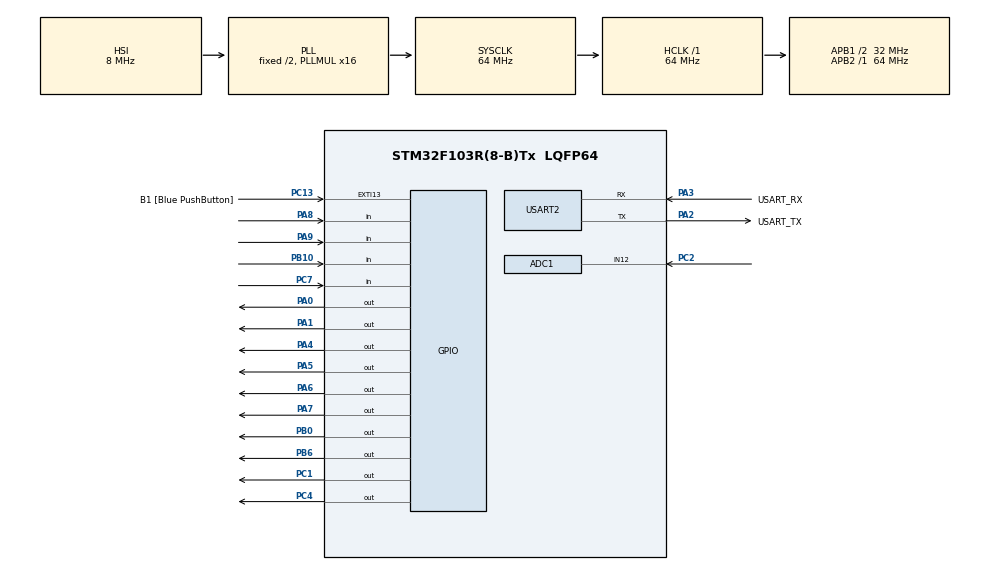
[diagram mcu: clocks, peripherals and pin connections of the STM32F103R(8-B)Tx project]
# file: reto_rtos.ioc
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ADC1.Channel-0\#ChannelRegularConversion=ADC_CHANNEL_12
ADC1.NbrOfConversionFlag=1
ADC1.Rank-0\#ChannelRegularConversion=1
ADC1.SamplingTime-0\#ChannelRegularConversion=ADC_SAMPLETIME_1CYCLE_5
ADC1.master=1
FREERTOS.Mutexes01=taskMutex,Dynamic,NULL,Available
FREERTOS.Queues01=key,1,uint32_t,0,Dynamic,NULL,NULL;value,1,uint32_t,0,Dynamic,NULL,NULL;throttle,1,uint32_t,0,Dynamic,NULL,NULL;brake_torque,1,uint32_t,0,Dynamic,NULL,NULL;steering,1,uint32_t,0,Dynamic,NULL,NULL;speed,1,uint32_t,0,Dynamic,NULL,NULL;engine,1,uint32_t,0,Dynamic,NULL,NULL;gear,1,uint32_t,0,Dynamic,NULL,NULL
FREERTOS.Tasks01=defaultTask,0,128,StartDefaultTask,Default,NULL,Dynamic,NULL,NULL;LeerValores,0,256,StartLeerValores,Default,NULL,Dynamic,NULL,NULL;EjecutarModelo,0,256,StartEjecutarModelo,Default,NULL,Dynamic,NULL,NULL;EnviarUART,0,256,StartEnviarUART,Default,NULL,Dynamic,NULL,NULL;EnviarLCD,0,256,StartEnviarLCD,Default,NULL,Dynamic,NULL,NULL
FREERTOS.configTOTAL_HEAP_SIZE=16392
FREERTOS.configUSE_NEWLIB_REENTRANT=1
Mcu.Family=STM32F1
Mcu.Name=STM32F103R(8-B)Tx
Mcu.Package=LQFP64
NVIC.EXTI15_10_IRQn=true\:5\:0\:false\:false\:true\:true\:true\:true\:true
NVIC.PriorityGroup=NVIC_PRIORITYGROUP_4
NVIC.TIM4_IRQn=true\:15\:0\:false\:false\:true\:false\:false\:true\:true
NVIC.TimeBase=TIM4_IRQn
NVIC.TimeBaseIP=TIM4
PA0-WKUP.Signal=GPIO_Output
PA1.Signal=GPIO_Output
PA13.GPIO_Label=TMS
PA13.Mode=Serial_Wire
PA13.Signal=SYS_JTMS-SWDIO
PA14.GPIO_Label=TCK
PA14.Mode=Serial_Wire
PA14.Signal=SYS_JTCK-SWCLK
PA2.GPIO_Label=USART_TX
PA2.GPIO_Mode=GPIO_MODE_AF_PP
PA2.GPIO_PuPd=GPIO_NOPULL
PA2.GPIO_Speed=GPIO_SPEED_FREQ_LOW
PA2.Mode=Asynchronous
PA2.Signal=USART2_TX
PA3.GPIO_Label=USART_RX
PA3.GPIO_Mode=GPIO_MODE_AF_PP
PA3.GPIO_PuPd=GPIO_NOPULL
PA3.GPIO_Speed=GPIO_SPEED_FREQ_LOW
PA3.Mode=Asynchronous
PA3.Signal=USART2_RX
PA4.Signal=GPIO_Output
PA5.Signal=GPIO_Output
PA6.Signal=GPIO_Output
PA7.Signal=GPIO_Output
PA8.GPIO_PuPd=GPIO_PULLDOWN
PA8.Signal=GPIO_Input
PA9.GPIO_PuPd=GPIO_PULLDOWN
PA9.Signal=GPIO_Input
PB0.Signal=GPIO_Output
PB10.GPIO_PuPd=GPIO_PULLDOWN
PB10.Signal=GPIO_Input
PB3.GPIO_Label=SWO
PB3.Signal=SYS_JTDO-TRACESWO
PB6.Signal=GPIO_Output
PC1.Signal=GPIO_Output
PC13-TAMPER-RTC.GPIO_Label=B1 [Blue PushButton]
PC13-TAMPER-RTC.GPIO_PuPd=GPIO_NOPULL
PC13-TAMPER-RTC.Signal=GPXTI13
PC14-OSC32_IN.Mode=LSE-External-Oscillator
PC14-OSC32_IN.Signal=RCC_OSC32_IN
PC15-OSC32_OUT.Mode=LSE-External-Oscillator
PC15-OSC32_OUT.Signal=RCC_OSC32_OUT
PC2.Signal=ADCx_IN12
PC4.Signal=GPIO_Output
PC7.GPIO_PuPd=GPIO_PULLDOWN
PC7.Signal=GPIO_Input
PD0-OSC_IN.Mode=HSE-External-Clock-Source
PD0-OSC_IN.Signal=RCC_OSC_IN
PD1-OSC_OUT.Mode=HSE-External-Clock-Source
PD1-OSC_OUT.Signal=RCC_OSC_OUT
ProjectManager.HeapSize=0x200
ProjectManager.StackSize=0x400
ProjectManager.TargetToolchain=STM32CubeIDE
RCC.ADCPresc=RCC_ADCPCLK2_DIV6
RCC.AHBFreq_Value=64000000
RCC.APB1CLKDivider=RCC_HCLK_DIV2
RCC.APB1Freq_Value=32000000
RCC.APB1TimFreq_Value=64000000
RCC.APB2Freq_Value=64000000
RCC.APB2TimFreq_Value=64000000
RCC.HCLKFreq_Value=64000000
RCC.PLLMUL=RCC_PLL_MUL16
RCC.RTCClockSelection=RCC_RTCCLKSOURCE_LSE
RCC.SYSCLKFreq_VALUE=64000000
RCC.SYSCLKSource=RCC_SYSCLKSOURCE_PLLCLK
RCC.USBFreq_Value=64000000
SH.ADCx_IN12.0=ADC1_IN12,IN12
USART2.VirtualMode=VM_ASYNC
VP_FREERTOS_VS_CMSIS_V1.Mode=CMSIS_V1
VP_SYS_VS_tim4.Mode=TIM4
board=NUCLEO-F103RB

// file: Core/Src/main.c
/* USER CODE BEGIN Header */
/**
  ******************************************************************************
  * @file           : main.c
  * @brief          : Main program body
  ******************************************************************************
  * @attention
  *
  * Copyright (c) 2024 STMicroelectronics.
  * All rights reserved.
  *
  * This software is licensed under terms that can be found in the LICENSE file
  * in the root directory of this software component.
  * If no LICENSE file comes with this software, it is provided AS-IS.
  *
  ******************************************************************************
  */
/* USER CODE END Header */
#include "main.h"
#include "cmsis_os.h"

/* USER CODE BEGIN Includes */
#include <stdbool.h>
#include <stdint.h>
#include <stddef.h>
#include <stdio.h>
#include "EngTrModel.h"
#include "rtwtypes.h"
/* USER CODE END Includes */

/* USER CODE BEGIN PD */
// LCD Display
#define RS_Pin GPIO_PIN_4
#define RS_GPIO_Port GPIOC
#define E_Pin GPIO_PIN_0
#define E_GPIO_Port GPIOA
#define D4_Pin GPIO_PIN_1
#define D4_GPIO_Port GPIOA
#define D5_Pin GPIO_PIN_4
#define D5_GPIO_Port GPIOA
#define D6_Pin GPIO_PIN_0
#define D6_GPIO_Port GPIOB
#define D7_Pin GPIO_PIN_1
#define D7_GPIO_Port GPIOC

// Matrix Keypad
#define mpo_0_PORT GPIOA
#define mpo_0_PIN  GPIO_PIN_5  // D13
#define mpo_1_PORT GPIOA
#define mpo_1_PIN  GPIO_PIN_6  // D12
#define mpo_2_PORT GPIOA
#define mpo_2_PIN  GPIO_PIN_7  // D11
#define mpo_3_PORT GPIOB
#define mpo_3_PIN  GPIO_PIN_6  // D10
#define mpi_0_PORT GPIOC
#define mpi_0_PIN  GPIO_PIN_7  // D9
#define mpi_1_PORT GPIOA
#define mpi_1_PIN  GPIO_PIN_9  // D8
#define mpi_2_PORT GPIOA
#define mpi_2_PIN  GPIO_PIN_8  // D7
#define mpi_3_PORT GPIOB
#define mpi_3_PIN  GPIO_PIN_10 // D6
/* USER CODE END PD */

ADC_HandleTypeDef hadc1;

UART_HandleTypeDef huart2;

osThreadId defaultTaskHandle;
osThreadId LeerValoresHandle;
osThreadId EjecutarModeloHandle;
osThreadId EnviarUARTHandle;
osThreadId EnviarLCDHandle;
osMessageQId keyHandle;
osMessageQId valueHandle;
osMessageQId throttleHandle;
osMessageQId brake_torqueHandle;
osMessageQId steeringHandle;
osMessageQId speedHandle;
osMessageQId engineHandle;
osMessageQId gearHandle;
osMutexId taskMutexHandle;

void SystemClock_Config(void);
static void MX_GPIO_Init(void);
static void MX_USART2_UART_Init(void);
static void MX_ADC1_Init(void);
void StartDefaultTask(void const * argument);
void StartLeerValores(void const * argument);
void StartEjecutarModelo(void const * argument);
void StartEnviarUART(void const * argument);
void StartEnviarLCD(void const * argument);

/* USER CODE BEGIN 0 */
// Otras
void FormatFloat(char *buffer, float value, bool fixed_decimals) {
    int int_part = (int)value;                          // Extract integer part
    int decimal_part = (int)((value - int_part) * 100); // Extract two decimal places

    if (fixed_decimals) {
        // Always display two decimals
        sprintf(buffer, "%d.%02d", int_part, abs(decimal_part));
    } else {
        // Dynamically hide trailing zeros
        if (decimal_part == 0) {
            sprintf(buffer, "%d", int_part); // No decimals
        } else if (decimal_part % 10 == 0) {
            sprintf(buffer, "%d.%d", int_part, abs(decimal_part / 10)); // One decimal place
        } else {
            sprintf(buffer, "%d.%02d", int_part, abs(decimal_part)); // Two decimal places
        }
    }
}

// FUNCIONES RTOS
uint32_t GetAndReplaceValue(osMessageQId queueHandle) {
    uint32_t value = 0;  // Local variable to hold the value
    osEvent r_event = osMessageGet(queueHandle, 0);

    if (r_event.status == osEventMessage) {
        value = r_event.value.v;  // Store the value from the queue
        osMessagePut(queueHandle, value, 0);  // Immediately replace the value in the queue
    }

    return value;  // Return the value
}
void PutValueInQueue(osMessageQId queueHandle, void *value) {
    // Try to put the value in the queue
    osStatus status = osMessagePut(queueHandle, (uint32_t)value, 0);
    if (status != osOK) {
        // If the queue is full, remove the oldest value and try again
        osMessageGet(queueHandle, 0);  // Remove the oldest value
        osMessagePut(queueHandle, (uint32_t)value, 0);  // Add the new value
    }
}
void DebugTaskTiming(char task_id, uint32_t time) {
    time = time % 1000;  // Keep the output within 3 digits
    char debug_msg[8];   // Buffer for message (7 characters + null terminator)
    sprintf(debug_msg, "%c%03lu\r\n", task_id, time);  // Format message using %lu for uint32_t
    HAL_UART_Transmit(&huart2, (uint8_t *)debug_msg, strlen(debug_msg), HAL_MAX_DELAY);
}
int _write(int file, char *ptr, int len){
	int DataIdx;
	for(DataIdx=0; DataIdx<len; DataIdx++){
	while(!( USART2->SR & USART_SR_TXE ));
		USART2->DR = *ptr++;
	}
	return len;
}

// FUNCIONES KEYPAD
int8_t read_matrix_inputs(void) {
    // Read the state of each defined input pin
    uint8_t mpi_0_state = HAL_GPIO_ReadPin(mpi_0_PORT, mpi_0_PIN);
    uint8_t mpi_1_state = HAL_GPIO_ReadPin(mpi_1_PORT, mpi_1_PIN);
    uint8_t mpi_2_state = HAL_GPIO_ReadPin(mpi_2_PORT, mpi_2_PIN);
    uint8_t mpi_3_state = HAL_GPIO_ReadPin(mpi_3_PORT, mpi_3_PIN);

    // Return a number based on which input is on
    if (mpi_0_state == GPIO_PIN_SET) {
        return 0;
    } else if (mpi_1_state == GPIO_PIN_SET) {
        return 1;
    } else if (mpi_2_state == GPIO_PIN_SET) {
        return 2;
    } else if (mpi_3_state == GPIO_PIN_SET) {
        return 3;
    }

    // If no input is on, return -1 (or another invalid value to indicate no input)
    return -1;
}
int8_t read_matrix_pad(void) {
    int32_t col = -1;
    int32_t key = -1;

    // Set mpo_0 (pin index 0) to 1
    HAL_GPIO_WritePin(mpo_0_PORT, mpo_0_PIN, GPIO_PIN_SET);
    col = read_matrix_inputs();
    if (col != -1) {
        key = 0 * 4 + col;
    }
    HAL_GPIO_WritePin(mpo_0_PORT, mpo_0_PIN, GPIO_PIN_RESET);  // Reset after check

    // Set mpo_1 (pin index 1) to 1
    HAL_GPIO_WritePin(mpo_1_PORT, mpo_1_PIN, GPIO_PIN_SET);
    col = read_matrix_inputs();
    if (col != -1) {
        key = 1 * 4 + col;
    }
    HAL_GPIO_WritePin(mpo_1_PORT, mpo_1_PIN, GPIO_PIN_RESET);  // Reset after check

    // Set mpo_2 (pin index 2) to 1
    HAL_GPIO_WritePin(mpo_2_PORT, mpo_2_PIN, GPIO_PIN_SET);
    col = read_matrix_inputs();
    if (col != -1) {
        key = 2 * 4 + col;
    }
    HAL_GPIO_WritePin(mpo_2_PORT, mpo_2_PIN, GPIO_PIN_RESET);  // Reset after check

    // Set mpo_3 (pin index 3) to 1
    HAL_GPIO_WritePin(mpo_3_PORT, mpo_3_PIN, GPIO_PIN_SET);
    col = read_matrix_inputs();
    if (col != -1) {
        key = 3 * 4 + col;
    }
    HAL_GPIO_WritePin(mpo_3_PORT, mpo_3_PIN, GPIO_PIN_RESET);  // Reset after check

    // If no valid col found, return 255 (or any other invalid marker)
    return key;
}

// FUNCIONES LCD
void LCD_Command(uint8_t cmd) {
    // Send high nibble
    HAL_GPIO_WritePin(RS_GPIO_Port, RS_Pin, GPIO_PIN_RESET); // RS = 0 for command
    HAL_GPIO_WritePin(D4_GPIO_Port, D4_Pin, (cmd >> 4) & 0x01);
    HAL_GPIO_WritePin(D5_GPIO_Port, D5_Pin, (cmd >> 5) & 0x01);
    HAL_GPIO_WritePin(D6_GPIO_Port, D6_Pin, (cmd >> 6) & 0x01);
    HAL_GPIO_WritePin(D7_GPIO_Port, D7_Pin, (cmd >> 7) & 0x01);

    HAL_GPIO_WritePin(E_GPIO_Port, E_Pin, GPIO_PIN_SET);  // Enable pin HIGH
    HAL_Delay(0.00001);
    HAL_GPIO_WritePin(E_GPIO_Port, E_Pin, GPIO_PIN_RESET);  // Enable pin LOW
    HAL_Delay(0.00001);

    // Send low nibble
    HAL_GPIO_WritePin(D4_GPIO_Port, D4_Pin, cmd & 0x01);
    HAL_GPIO_WritePin(D5_GPIO_Port, D5_Pin, (cmd >> 1) & 0x01);
    HAL_GPIO_WritePin(D6_GPIO_Port, D6_Pin, (cmd >> 2) & 0x01);
    HAL_GPIO_WritePin(D7_GPIO_Port, D7_Pin, (cmd >> 3) & 0x01);

    HAL_GPIO_WritePin(E_GPIO_Port, E_Pin, GPIO_PIN_SET);  // Enable pin HIGH
    HAL_Delay(0.00001);
    HAL_GPIO_WritePin(E_GPIO_Port, E_Pin, GPIO_PIN_RESET);  // Enable pin LOW
    HAL_Delay(0.00001);
}
void LCD_Write_Char(char data) {
    // Send high nibble
    HAL_GPIO_WritePin(RS_GPIO_Port, RS_Pin, GPIO_PIN_SET); // RS = 1 for data
    HAL_GPIO_WritePin(D4_GPIO_Port, D4_Pin, (data >> 4) & 0x01);
    HAL_GPIO_WritePin(D5_GPIO_Port, D5_Pin, (data >> 5) & 0x01);
    HAL_GPIO_WritePin(D6_GPIO_Port, D6_Pin, (data >> 6) & 0x01);
    HAL_GPIO_WritePin(D7_GPIO_Port, D7_Pin, (data >> 7) & 0x01);

    HAL_GPIO_WritePin(E_GPIO_Port, E_Pin, GPIO_PIN_SET);  // Enable pin HIGH
    HAL_Delay(0.00001);
    HAL_GPIO_WritePin(E_GPIO_Port, E_Pin, GPIO_PIN_RESET);  // Enable pin LOW
    HAL_Delay(0.00001);

    // Send low nibble
    HAL_GPIO_WritePin(D4_GPIO_Port, D4_Pin, data & 0x01);
    HAL_GPIO_WritePin(D5_GPIO_Port, D5_Pin, (data >> 1) & 0x01);
    HAL_GPIO_WritePin(D6_GPIO_Port, D6_Pin, (data >> 2) & 0x01);
    HAL_GPIO_WritePin(D7_GPIO_Port, D7_Pin, (data >> 3) & 0x01);

    HAL_GPIO_WritePin(E_GPIO_Port, E_Pin, GPIO_PIN_SET);  // Enable pin HIGH
    HAL_Delay(0.00001);
    HAL_GPIO_WritePin(E_GPIO_Port, E_Pin, GPIO_PIN_RESET);  // Enable pin LOW
    HAL_Delay(0.00001);
}
void LCD_Init(void) {
    HAL_Delay(20);  // Wait for 20ms
    LCD_Command(0x03);
    HAL_Delay(5);
    LCD_Command(0x03);
    HAL_Delay(1);
    LCD_Command(0x03);
    LCD_Command(0x02);  // 4-bit mode
    LCD_Command(0x28);  // 2 lines, 5x7 matrix
    LCD_Command(0x0C);  // Display on, cursor off
    LCD_Command(0x06);  // Increment cursor
    LCD_Command(0x01);  // Clear display
    HAL_Delay(2);
}
void LCD_Set_Cursor(uint8_t row, uint8_t col) {
    uint8_t pos;
    if (row == 0) {
        pos = 0x80 + col;
    } else {
        pos = 0xC0 + col;
    }
    LCD_Command(pos);
}
void LCD_Write_String(char *str) {
    while (*str) {
        LCD_Write_Char(*str++);
    }
}
void LCD_Overwrite(char *str) {
	LCD_Command(0x01);  	// Clear
	HAL_Delay(1);	  		// Wait for clear
	LCD_Set_Cursor(0, 0);	// Reset cursor
    while (*str) {
        if (*str == '\n') {
            LCD_Set_Cursor(1, 0);  // Move to the beginning of the second line
        } else {
            LCD_Write_Char(*str);
        }
        str++;
    }
}
void LCD_Update(char *str) {
    static char prev_str[32] = "";  // Assume 16x2 LCD, so max 32 characters
    char padded_str[32] = "";       // Buffer for the padded version of `str`
    size_t len = strlen(str);

    // Pad the input string to match the LCD's dimensions
    memset(padded_str, ' ', sizeof(padded_str));  // Fill with spaces
    if (len > 0) {
        // Copy the input string into the padded buffer
        for (size_t i = 0, lcd_pos = 0; i < len && lcd_pos < 32; i++) {
            if (str[i] == '\n') {
                // Move to the second line at index 16
                lcd_pos = 16;
            } else if (lcd_pos < 32) {
                // Copy the character to the padded buffer
                padded_str[lcd_pos++] = str[i];
            }
        }
    }

    // Compare each character with the previous display and update if needed
    for (size_t i = 0; i < 32; i++) {
        if (padded_str[i] != prev_str[i]) {
            LCD_Set_Cursor(i / 16, i % 16);  // Determine row and column
            LCD_Write_Char(padded_str[i]);  // Write the updated character
            prev_str[i] = padded_str[i];    // Update the prev_str record
        }
    }
}
/* USER CODE END 0 */

int main(void)
{

  /* MCU Configuration--------------------------------------------------------*/

  /* Reset of all peripherals, Initializes the Flash interface and the Systick. */
  HAL_Init();

  /* Configure the system clock */
  SystemClock_Config();

  /* Initialize all configured peripherals */
  MX_GPIO_Init();
  MX_USART2_UART_Init();
  MX_ADC1_Init();

  /* Create the mutex(es) */
  /* definition and creation of taskMutex */
  osMutexDef(taskMutex);
  taskMutexHandle = osMutexCreate(osMutex(taskMutex));

  /* Create the queue(s) */
  /* definition and creation of key */
  osMessageQDef(key, 1, uint32_t);
  keyHandle = osMessageCreate(osMessageQ(key), NULL);

  /* definition and creation of value */
  osMessageQDef(value, 1, uint32_t);
  valueHandle = osMessageCreate(osMessageQ(value), NULL);

  /* definition and creation of throttle */
  osMessageQDef(throttle, 1, uint32_t);
  throttleHandle = osMessageCreate(osMessageQ(throttle), NULL);

  /* definition and creation of brake_torque */
  osMessageQDef(brake_torque, 1, uint32_t);
  brake_torqueHandle = osMessageCreate(osMessageQ(brake_torque), NULL);

  /* definition and creation of steering */
  osMessageQDef(steering, 1, uint32_t);
  steeringHandle = osMessageCreate(osMessageQ(steering), NULL);

  /* definition and creation of speed */
  osMessageQDef(speed, 1, uint32_t);
  speedHandle = osMessageCreate(osMessageQ(speed), NULL);

  /* definition and creation of engine */
  osMessageQDef(engine, 1, uint32_t);
  engineHandle = osMessageCreate(osMessageQ(engine), NULL);

  /* definition and creation of gear */
  osMessageQDef(gear, 1, uint32_t);
  gearHandle = osMessageCreate(osMessageQ(gear), NULL);

  /* Create the thread(s) */
  /* definition and creation of defaultTask */
  osThreadDef(defaultTask, StartDefaultTask, osPriorityNormal, 0, 128);
  defaultTaskHandle = osThreadCreate(osThread(defaultTask), NULL);

  /* definition and creation of LeerValores */
  osThreadDef(LeerValores, StartLeerValores, osPriorityNormal, 0, 256);
  LeerValoresHandle = osThreadCreate(osThread(LeerValores), NULL);

  /* definition and creation of EjecutarModelo */
  osThreadDef(EjecutarModelo, StartEjecutarModelo, osPriorityNormal, 0, 256);
  EjecutarModeloHandle = osThreadCreate(osThread(EjecutarModelo), NULL);

  /* definition and creation of EnviarUART */
  osThreadDef(EnviarUART, StartEnviarUART, osPriorityNormal, 0, 256);
  EnviarUARTHandle = osThreadCreate(osThread(EnviarUART), NULL);

  /* definition and creation of EnviarLCD */
  osThreadDef(EnviarLCD, StartEnviarLCD, osPriorityNormal, 0, 256);
  EnviarLCDHandle = osThreadCreate(osThread(EnviarLCD), NULL);

  /* Start scheduler */
  osKernelStart();

  /* We should never get here as control is now taken by the scheduler */

  /* Infinite loop */
  while (1)
  {

  }
}

void SystemClock_Config(void)
{
  RCC_OscInitTypeDef RCC_OscInitStruct = {0};
  RCC_ClkInitTypeDef RCC_ClkInitStruct = {0};
  RCC_PeriphCLKInitTypeDef PeriphClkInit = {0};

  /** Initializes the RCC Oscillators according to the specified parameters
  * in the RCC_OscInitTypeDef structure.
  */
  RCC_OscInitStruct.OscillatorType = RCC_OSCILLATORTYPE_HSI;
  RCC_OscInitStruct.HSIState = RCC_HSI_ON;
  RCC_OscInitStruct.HSICalibrationValue = RCC_HSICALIBRATION_DEFAULT;
  RCC_OscInitStruct.PLL.PLLState = RCC_PLL_ON;
  RCC_OscInitStruct.PLL.PLLSource = RCC_PLLSOURCE_HSI_DIV2;
  RCC_OscInitStruct.PLL.PLLMUL = RCC_PLL_MUL16;
  if (HAL_RCC_OscConfig(&RCC_OscInitStruct) != HAL_OK)
  {
    Error_Handler();
  }

  /** Initializes the CPU, AHB and APB buses clocks
  */
  RCC_ClkInitStruct.ClockType = RCC_CLOCKTYPE_HCLK|RCC_CLOCKTYPE_SYSCLK
                              |RCC_CLOCKTYPE_PCLK1|RCC_CLOCKTYPE_PCLK2;
  RCC_ClkInitStruct.SYSCLKSource = RCC_SYSCLKSOURCE_PLLCLK;
  RCC_ClkInitStruct.AHBCLKDivider = RCC_SYSCLK_DIV1;
  RCC_ClkInitStruct.APB1CLKDivider = RCC_HCLK_DIV2;
  RCC_ClkInitStruct.APB2CLKDivider = RCC_HCLK_DIV1;

  if (HAL_RCC_ClockConfig(&RCC_ClkInitStruct, FLASH_LATENCY_2) != HAL_OK)
  {
    Error_Handler();
  }
  PeriphClkInit.PeriphClockSelection = RCC_PERIPHCLK_ADC;
  PeriphClkInit.AdcClockSelection = RCC_ADCPCLK2_DIV6;
  if (HAL_RCCEx_PeriphCLKConfig(&PeriphClkInit) != HAL_OK)
  {
    Error_Handler();
  }
}

static void MX_ADC1_Init(void)
{

  ADC_ChannelConfTypeDef sConfig = {0};

  /** Common config
  */
  hadc1.Instance = ADC1;
  hadc1.Init.ScanConvMode = ADC_SCAN_DISABLE;
  hadc1.Init.ContinuousConvMode = DISABLE;
  hadc1.Init.DiscontinuousConvMode = DISABLE;
  hadc1.Init.ExternalTrigConv = ADC_SOFTWARE_START;
  hadc1.Init.DataAlign = ADC_DATAALIGN_RIGHT;
  hadc1.Init.NbrOfConversion = 1;
  if (HAL_ADC_Init(&hadc1) != HAL_OK)
  {
    Error_Handler();
  }

  /** Configure Regular Channel
  */
  sConfig.Channel = ADC_CHANNEL_12;
  sConfig.Rank = ADC_REGULAR_RANK_1;
  sConfig.SamplingTime = ADC_SAMPLETIME_1CYCLE_5;
  if (HAL_ADC_ConfigChannel(&hadc1, &sConfig) != HAL_OK)
  {
    Error_Handler();
  }

}

static void MX_USART2_UART_Init(void)
{

  huart2.Instance = USART2;
  huart2.Init.BaudRate = 115200;
  huart2.Init.WordLength = UART_WORDLENGTH_8B;
  huart2.Init.StopBits = UART_STOPBITS_1;
  huart2.Init.Parity = UART_PARITY_NONE;
  huart2.Init.Mode = UART_MODE_TX_RX;
  huart2.Init.HwFlowCtl = UART_HWCONTROL_NONE;
  huart2.Init.OverSampling = UART_OVERSAMPLING_16;
  if (HAL_UART_Init(&huart2) != HAL_OK)
  {
    Error_Handler();
  }

}

static void MX_GPIO_Init(void)
{
  GPIO_InitTypeDef GPIO_InitStruct = {0};

  /* GPIO Ports Clock Enable */
  __HAL_RCC_GPIOC_CLK_ENABLE();
  __HAL_RCC_GPIOD_CLK_ENABLE();
  __HAL_RCC_GPIOA_CLK_ENABLE();
  __HAL_RCC_GPIOB_CLK_ENABLE();

  /*Configure GPIO pin Output Level */
  HAL_GPIO_WritePin(GPIOC, GPIO_PIN_1|GPIO_PIN_4, GPIO_PIN_RESET);

  /*Configure GPIO pin Output Level */
  HAL_GPIO_WritePin(GPIOA, GPIO_PIN_0|GPIO_PIN_1|GPIO_PIN_4|GPIO_PIN_5
                          |GPIO_PIN_6|GPIO_PIN_7, GPIO_PIN_RESET);

  /*Configure GPIO pin Output Level */
  HAL_GPIO_WritePin(GPIOB, GPIO_PIN_0|GPIO_PIN_6, GPIO_PIN_RESET);

  /*Configure GPIO pin : B1_Pin */
  GPIO_InitStruct.Pin = B1_Pin;
  GPIO_InitStruct.Mode = GPIO_MODE_IT_RISING;
  GPIO_InitStruct.Pull = GPIO_NOPULL;
  HAL_GPIO_Init(B1_GPIO_Port, &GPIO_InitStruct);

  /*Configure GPIO pins : PC1 PC4 */
  GPIO_InitStruct.Pin = GPIO_PIN_1|GPIO_PIN_4;
  GPIO_InitStruct.Mode = GPIO_MODE_OUTPUT_PP;
  GPIO_InitStruct.Pull = GPIO_NOPULL;
  GPIO_InitStruct.Speed = GPIO_SPEED_FREQ_LOW;
  HAL_GPIO_Init(GPIOC, &GPIO_InitStruct);

  /*Configure GPIO pins : PA0 PA1 PA4 PA5
                           PA6 PA7 */
  GPIO_InitStruct.Pin = GPIO_PIN_0|GPIO_PIN_1|GPIO_PIN_4|GPIO_PIN_5
                          |GPIO_PIN_6|GPIO_PIN_7;
  GPIO_InitStruct.Mode = GPIO_MODE_OUTPUT_PP;
  GPIO_InitStruct.Pull = GPIO_NOPULL;
  GPIO_InitStruct.Speed = GPIO_SPEED_FREQ_LOW;
  HAL_GPIO_Init(GPIOA, &GPIO_InitStruct);

  /*Configure GPIO pins : PB0 PB6 */
  GPIO_InitStruct.Pin = GPIO_PIN_0|GPIO_PIN_6;
  GPIO_InitStruct.Mode = GPIO_MODE_OUTPUT_PP;
  GPIO_InitStruct.Pull = GPIO_NOPULL;
  GPIO_InitStruct.Speed = GPIO_SPEED_FREQ_LOW;
  HAL_GPIO_Init(GPIOB, &GPIO_InitStruct);

  /*Configure GPIO pin : PB10 */
  GPIO_InitStruct.Pin = GPIO_PIN_10;
  GPIO_InitStruct.Mode = GPIO_MODE_INPUT;
  GPIO_InitStruct.Pull = GPIO_PULLDOWN;
  HAL_GPIO_Init(GPIOB, &GPIO_InitStruct);

  /*Configure GPIO pin : PC7 */
  GPIO_InitStruct.Pin = GPIO_PIN_7;
  GPIO_InitStruct.Mode = GPIO_MODE_INPUT;
  GPIO_InitStruct.Pull = GPIO_PULLDOWN;
  HAL_GPIO_Init(GPIOC, &GPIO_InitStruct);

  /*Configure GPIO pins : PA8 PA9 */
  GPIO_InitStruct.Pin = GPIO_PIN_8|GPIO_PIN_9;
  GPIO_InitStruct.Mode = GPIO_MODE_INPUT;
  GPIO_InitStruct.Pull = GPIO_PULLDOWN;
  HAL_GPIO_Init(GPIOA, &GPIO_InitStruct);

  /* EXTI interrupt init*/
  HAL_NVIC_SetPriority(EXTI15_10_IRQn, 5, 0);
  HAL_NVIC_EnableIRQ(EXTI15_10_IRQn);

}

void StartDefaultTask(void const * argument)
{
  /* USER CODE BEGIN 5 */
	// Calendarización para esta tarea
	const int period = 100;
	const int offset = 5;
	osDelay(offset);

  /* Infinite loop */
	for(;;)
	{
		//int tick = osKernelSysTick();
		//printf("Hello RTOS World!! Tick: %d\r\n", tick);

		// Random delay to simulate longer execution
		//int random_delay = 10 + rand() % 100;
		//HAL_Delay(random_delay);

		// Wait until next release time
		//int cur_tick = osKernelSysTick();
		//osDelay(((cur_tick / period) + 1) * period + offset - cur_tick);
		osDelay(1);
	}
  /* USER CODE END 5 */
}

void StartLeerValores(void const * argument)
{
  /* USER CODE BEGIN StartLeerValores */
	// Calendarización para esta tarea
	const int period = 40;
	const int offset = 0;
	osDelay(offset);

	uint16_t mini = 500;	// Mínimo valor del ADC
	uint16_t maxi = 4000;	// Máximo valor del ADC
	int8_t key = -1;
	uint16_t value = 0;
	float brake_torque = 0;
	float throttle;
	int8_t steering = 0;
	char msg[256] = "";

	/* Infinite loop */
	for(;;)
	{
	  	// Start
		osMutexWait(taskMutexHandle, osWaitForever);
		uint32_t start_tick = osKernelSysTick();  // Get start time
		//DebugTaskTiming('L', osKernelSysTick()); // Ver inicio

		// Leemos el teclado
		key = read_matrix_pad();
		PutValueInQueue(keyHandle, &key);  // Use the new function to handle key

		// Leemos potenciometro
		HAL_ADC_Start(&hadc1);
		HAL_ADC_PollForConversion(&hadc1, 20);
		value = HAL_ADC_GetValue(&hadc1);
		PutValueInQueue(valueHandle, &value);  // Use the new function to handle value

		// Calculamos Throttle
		throttle = fmax(0.0f, fmin(((float)value - (float)mini) / ((float)maxi - (float)mini), 1.0f));
		PutValueInQueue(throttleHandle, &throttle);  // Use the new function to handle throttle

		// Calculamos brake torque
		brake_torque = (key == 5) ? 1 : 0;
		PutValueInQueue(brake_torqueHandle, &brake_torque);  // Use the new function to handle brake_torque

		// Calculamos dirección
		if (key == 4)
		    steering = -1;
		else if (key == 6)
		    steering = 1;
		else
		    steering = 0;
		PutValueInQueue(steeringHandle, &steering);  // Use the new function to handle steering

		// Wait until next release time
		osMutexRelease(taskMutexHandle); // Done
		//DebugTaskTiming('L', osKernelSysTick() - start_tick); //  Ver duración
		int cur_tick = osKernelSysTick();
		osDelay(((cur_tick / period) + 1) * period + offset - cur_tick);
	}
  /* USER CODE END StartLeerValores */
}

void StartEjecutarModelo(void const * argument)
{
  /* USER CODE BEGIN StartEjecutarModelo */
	  // Calendarización para esta tarea
	  const int period = 40;
	  const int offset = 6;
	  osDelay(offset);

	  osEvent r_event;
	  bool stopped = false;
      float mint = 1.45;
	  float maxt = 100;
      float max_bt = 2000;
	  float brake_torque = 0;
	  float throttle = 0;
	  float speed = 0.0;
	  float engine = 0.0;
	  int8_t gear = 0;
	  /* Infinite loop */
	  for(;;)
	  {
		  	// Start
		    osMutexWait(taskMutexHandle, osWaitForever);
		  	uint32_t start_tick = osKernelSysTick();  // Get start time
			//DebugTaskTiming('M', osKernelSysTick()); // Ver inicio

			// Obtenemos throttle y brake_torque
			throttle = *(float *)GetAndReplaceValue(throttleHandle);
			throttle = throttle * (maxt - mint) + mint;
			brake_torque = *(float *)GetAndReplaceValue(brake_torqueHandle);
			brake_torque = brake_torque * max_bt;

			// Asignamos throttle y brake_torque
			EngTrModel_U.Throttle = throttle; // Get
			EngTrModel_U.BrakeTorque = brake_torque; // Get

			// Ejecutamos el modelo
			EngTrModel_step();

			// Checamos que la velocidad no sea negativa
			if (EngTrModel_Y.VehicleSpeed < 0)
				EngTrModel_Y.VehicleSpeed = 0;

			// Apply the stopped condition
			if (stopped)
			    EngTrModel_Y.VehicleSpeed = 0;  // Force speed to remain 0 while stopped

			// Update the stopped flag
			stopped = (EngTrModel_Y.VehicleSpeed == 0 && brake_torque > 0);

			// Leemos salida del modelo
			speed = EngTrModel_Y.VehicleSpeed;	// Put
			engine = EngTrModel_Y.EngineSpeed;	// Put
			gear = EngTrModel_Y.Gear;			// Put

			// Enviamos a queues
			PutValueInQueue(speedHandle, &speed);   // Use the new function to handle speed
			PutValueInQueue(engineHandle, &engine); // Use the new function to handle engine
			PutValueInQueue(gearHandle, &gear);     // Use the new function to handle gear

			// Wait until next release time
			osMutexRelease(taskMutexHandle); // Done
			//DebugTaskTiming('M', osKernelSysTick() - start_tick); // Ver duración
			int cur_tick = osKernelSysTick();
			osDelay(((cur_tick / period) + 1) * period + offset - cur_tick);
	  }
  /* USER CODE END StartEjecutarModelo */
}

void StartEnviarUART(void const * argument)
{
  /* USER CODE BEGIN StartEnviarUART */
	  // Calendarización para esta tarea
	  const int period = 40;
	  const int offset = 10;
	  osDelay(offset);

	  osEvent r_event;
	  uint8_t msg[256] = "";
	  int8_t key = -1;			// Queue
	  uint16_t value = 0;		// Queue
	  int8_t steering = 0;		// Queue
	  int8_t gear = 0;			// Queue
	  float throttle;			// Queue
	  float speed = 0.0;		// Queue
	  float engine = 0.0;		// Queue
	  float brake_torque = 0;	// Queue

	  bool transmit = false;
	  /* Infinite loop */
	  for(;;)
	  {
		  	// Start
			osMutexWait(taskMutexHandle, osWaitForever);
			uint32_t start_tick = osKernelSysTick();  // Get start time
			//DebugTaskTiming('U', osKernelSysTick()); // Ver inicio

			// Get values
			key = *(int8_t *)GetAndReplaceValue(keyHandle);
			value = *(uint16_t *)GetAndReplaceValue(valueHandle);
			steering = *(int8_t *)GetAndReplaceValue(steeringHandle);
			gear = *(int8_t *)GetAndReplaceValue(gearHandle);
			throttle = *(float *)GetAndReplaceValue(throttleHandle);
			speed = *(float *)GetAndReplaceValue(speedHandle);
			engine = *(float *)GetAndReplaceValue(engineHandle);
			brake_torque = *(float *)GetAndReplaceValue(brake_torqueHandle);

			// Check if key 12 or 14 is pressed
			if (key == 12)
				transmit = false;
			else if (key == 14)
				transmit = true;

			// Main sprintf logic for the message
			char throttle_str[10];
			FormatFloat(throttle_str, throttle, false);   // Format throttle
			sprintf(msg, "Key: %d\tADC: %u\tThr: %s\tBrk: %u\tStr: %d\tG: %u\tEng: %d.%02d\tSpd: %d.%02d\t%s\r\n",
			        key,
			        value,
			        throttle_str,
			        (int)brake_torque,
			        steering,
			        gear,
			        (int)speed, (int)((speed - (int)speed) * 100),
			        (int)engine, (int)((engine - (int)engine) * 100),
			        transmit ? "\tT" : "\tX");
			printf(msg);

			// Wait until next release time
			osMutexRelease(taskMutexHandle); // Done
			//DebugTaskTiming('U', osKernelSysTick() - start_tick); // Ver duración
			int cur_tick = osKernelSysTick();
			osDelay(((cur_tick / period) + 1) * period + offset - cur_tick);
	  }
  /* USER CODE END StartEnviarUART */
}

void StartEnviarLCD(void const * argument)
{
  /* USER CODE BEGIN StartEnviarLCD */
	  LCD_Init();
	  // Calendarización para esta tarea
	  const int period = 120;
	  const int offset = 17;
	  const int cycle_duration = 5000;
	  osDelay(offset);

	  osEvent r_event;
	  char lcd_msg[33] = "";
	  int8_t key = -1, prev_key = -1;  // Current and previous key state
	  int display_counter = 0;        // Counter to manually cycle through displays
	  const int num_displays = 4;     // Total number of displays

	  uint16_t value = 0;
	  float brake_torque = 0;
	  float throttle = 0;
	  int8_t steering = 0;
	  int8_t gear = 0;
	  float speed = 0.0;
	  float engine = 0.0;

	  /* Infinite loop */
	  for(;;)
	  {
		// Start
		osMutexWait(taskMutexHandle, osWaitForever);
		uint32_t start_tick = osKernelSysTick();  // Get start time
		//DebugTaskTiming('P', osKernelSysTick()); // Ver inicio

		// Get values
		key = *(int8_t *)GetAndReplaceValue(keyHandle);
		value = *(uint16_t *)GetAndReplaceValue(valueHandle);
		brake_torque = *(float *)GetAndReplaceValue(brake_torqueHandle);
		throttle = *(float *)GetAndReplaceValue(throttleHandle);
		steering = *(int8_t *)GetAndReplaceValue(steeringHandle);
		gear = *(int8_t *)GetAndReplaceValue(gearHandle);
		speed = *(float *)GetAndReplaceValue(speedHandle);
		engine = *(float *)GetAndReplaceValue(engineHandle);

		// Check for key press event (key changes from unpressed to pressed)
		if (key == 13 && prev_key != 13)
			display_counter = (display_counter + 1) % num_displays;  // Cycle display manually
		prev_key = key;  // Update previous key state

		// Determine the active display
		int active_display;
		if (display_counter == 0) {
			// Automatic cycling mode
			int tick = osKernelSysTick();
			active_display = 1 + ((tick / cycle_duration) % (num_displays - 1));  // Alternates between 1 and 2
		} else {
			// Manual selection mode
			active_display = display_counter;
		}

		if (active_display == 1) {
		    // Display 1: Outputs del modelo
		    sprintf(lcd_msg, "G:%d Eng:%d\nSpd:%d", gear, (int)engine, (int)speed);
		} else if (active_display == 2) {
			// Display 2: Inputs del modelo
		    char throttle_str[10], brake_torque_str[10];
		    FormatFloat(throttle_str, throttle, true);         // Format throttle with fixed decimals

		    sprintf(lcd_msg, "T:%s B:%d\nS:%d", throttle_str, (int)brake_torque, (int)steering);
		} else if (active_display == 3) {
		    // Display 3: Inputs del sistema
		    sprintf(lcd_msg, "Key:%d\nADC:%u",
		            key,                                // Key as integer
		            value);                             // ADC value as unsigned integer
		}

		LCD_Update(lcd_msg);

		// Wait until next release time
		osMutexRelease(taskMutexHandle); // Done
		//DebugTaskTiming('P', osKernelSysTick() - start_tick); // Ver duración
		uint32_t cur_tick = osKernelSysTick();
		osDelay(((cur_tick / period) + 1) * period + offset - cur_tick);
	  }
  /* USER CODE END StartEnviarLCD */
}

void HAL_TIM_PeriodElapsedCallback(TIM_HandleTypeDef *htim)
{
  if (htim->Instance == TIM4) {
    HAL_IncTick();
  }
}

void Error_Handler(void)
{
  __disable_irq();
  while (1)
  {
  }
}
